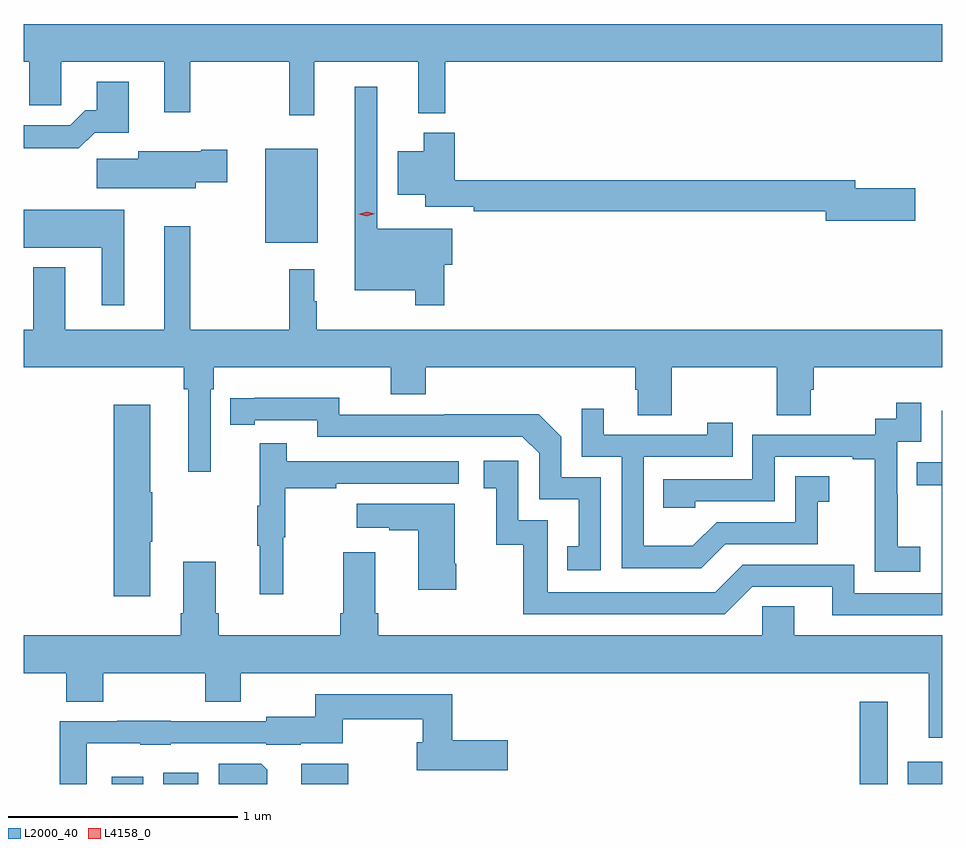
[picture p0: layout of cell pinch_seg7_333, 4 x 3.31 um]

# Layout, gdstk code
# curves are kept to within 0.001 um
import gdstk
lib = gdstk.Library(unit=1e-6, precision=1e-09)
def R(c, l, rs):  # rectangles x0, y0, x1, y1
    for r in rs: c.add(gdstk.rectangle(r[:2], r[2:], *l))
def P(c, l, *ps):  # polygons
    for p in ps: c.add(gdstk.Polygon(p, *l))
L2000_40 = (2000, 40)
L4158_0 = (4158, 0)

pinch_seg7_333 = lib.new_cell('pinch_seg7_333')
R(pinch_seg7_333, L2000_40, [(469.481,1069.397,469.618,1069.429), (469.706,1069.397,469.858,1069.447), (470.306,1069.397,470.512,1069.486), (472.74,1069.397,472.861,1069.756), (472.949,1069.397,473.098,1069.495), (470.15,1071.755,470.377,1072.165)])
P(pinch_seg7_333, L2000_40, [(470.363,1072.544),(470.816,1072.544),(470.816,1072.319),(470.933,1072.319),(470.933,1072.544),(473.098,1072.544),(473.098,1072.708),(469.098,1072.708),(469.098,1072.544),(469.121,1072.544),(469.121,1072.354),(469.26,1072.354),(469.26,1072.544),(469.709,1072.544),(469.709,1072.323),(469.823,1072.323),(469.823,1072.544),(470.253,1072.544),(470.253,1072.311),(470.363,1072.311)],
  [(469.406,1072.235),(469.555,1072.235),(469.555,1072.456),(469.415,1072.456),(469.415,1072.333),(469.366,1072.333),(469.299,1072.266),(469.098,1072.266),(469.098,1072.166),(469.337,1072.166)],
  [(470.93,1071.659),(470.965,1071.659),(470.965,1071.817),(470.637,1071.817),(470.637,1072.435),(470.54,1072.435),(470.54,1071.548),(470.802,1071.548),(470.802,1071.483),(470.93,1071.483)],
  [(472.981,1071.992),(472.72,1071.992),(472.72,1072.028),(470.975,1072.028),(470.975,1072.234),(470.84,1072.234),(470.84,1072.153),(470.726,1072.153),(470.726,1071.965),(470.846,1071.965),(470.846,1071.912),(471.058,1071.912),(471.058,1071.892),(472.592,1071.892),(472.592,1071.85),(472.981,1071.85)],
  [(469.846,1072.019),(469.984,1072.019),(469.984,1072.161),(469.871,1072.161),(469.871,1072.153),(469.595,1072.153),(469.595,1072.121),(469.416,1072.121),(469.416,1071.992),(469.846,1071.992)],
  [(469.534,1071.898),(469.098,1071.898),(469.098,1071.734),(469.436,1071.734),(469.436,1071.483),(469.534,1071.483)],
  [(469.911,1071.116),(469.925,1071.116),(469.925,1071.212),(470.696,1071.212),(470.696,1071.095),(470.849,1071.095),(470.849,1071.212),(471.761,1071.212),(471.761,1071.114),(471.773,1071.114),(471.773,1071.004),(471.921,1071.004),(471.921,1071.212),(472.378,1071.212),(472.378,1071.004),(472.525,1071.004),(472.525,1071.114),(472.538,1071.114),(472.538,1071.212),(473.098,1071.212),(473.098,1071.376),(470.374,1071.376),(470.374,1071.5),(470.362,1071.5),(470.362,1071.64),(470.253,1071.64),(470.253,1071.376),(469.823,1071.376),(469.823,1071.826),(469.709,1071.826),(469.709,1071.376),(469.279,1071.376),(469.279,1071.649),(469.139,1071.649),(469.139,1071.376),(469.098,1071.376),(469.098,1071.212),(469.795,1071.212),(469.795,1071.116),(469.814,1071.116),(469.814,1070.757),(469.911,1070.757)],
  [(471.612,1070.733),(471.438,1070.733),(471.438,1070.91),(471.34,1071.008),(470.932,1071.008),(470.932,1071.006),(470.472,1071.006),(470.472,1071.079),(469.996,1071.078),(469.996,1070.962),(470.104,1070.962),(470.104,1070.982),(470.376,1070.982),(470.376,1070.91),(471.27,1070.91),(471.342,1070.838),(471.342,1070.637),(471.515,1070.637),(471.515,1070.433),(471.466,1070.433),(471.466,1070.328),(471.612,1070.328)],
  [(473.002,1070.431),(472.904,1070.431),(472.904,1070.66),(472.902,1070.66),(472.902,1070.889),(473.007,1070.889),(473.007,1071.058),(472.899,1071.058),(472.899,1070.988),(472.806,1070.988),(472.806,1070.919),(472.272,1070.919),(472.272,1070.724),(471.883,1070.724),(471.883,1070.601),(472.023,1070.601),(472.023,1070.628),(472.368,1070.628),(472.368,1070.823),(472.709,1070.823),(472.709,1070.811),(472.805,1070.811),(472.805,1070.527),(472.804,1070.527),(472.804,1070.321),(473.002,1070.321)],
  [(469.648,1070.452),(469.656,1070.452),(469.656,1070.669),(469.648,1070.669),(469.648,1071.049),(469.49,1071.049),(469.49,1070.214),(469.648,1070.214)],
  [(472.153,1070.442),(472.557,1070.442),(472.557,1070.627),(472.606,1070.627),(472.606,1070.737),(472.458,1070.737),(472.458,1070.538),(472.116,1070.538),(472.012,1070.434),(471.798,1070.434),(471.798,1070.823),(472.187,1070.823),(472.187,1070.971),(472.076,1070.971),(472.076,1070.919),(471.625,1070.919),(471.625,1071.031),(471.528,1071.031),(471.528,1070.823),(471.702,1070.823),(471.702,1070.337),(472.048,1070.337)],
  [(473.098,1071.024),(473.097,1070.799),(472.987,1070.799),(472.987,1070.698),(473.097,1070.698),(473.097,1070.229),(472.716,1070.229),(472.716,1070.352),(472.23,1070.352),(472.11,1070.232),(471.381,1070.232),(471.381,1070.547),(471.252,1070.547),(471.252,1070.806),(471.102,1070.806),(471.102,1070.685),(471.155,1070.685),(471.155,1070.439),(471.273,1070.439),(471.273,1070.136),(472.152,1070.136),(472.272,1070.256),(472.619,1070.256),(472.619,1070.133),(473.098,1070.133)],
  [(470.228,1070.472),(470.236,1070.472),(470.236,1070.686),(470.459,1070.686),(470.459,1070.706),(470.992,1070.706),(470.992,1070.802),(470.243,1070.802),(470.243,1070.881),(470.126,1070.881),(470.126,1070.609),(470.115,1070.609),(470.115,1070.435),(470.126,1070.435),(470.126,1070.223),(470.228,1070.223)],
  [(470.982,1070.356),(470.974,1070.356),(470.974,1070.617),(470.547,1070.617),(470.547,1070.513),(470.69,1070.513),(470.69,1070.503),(470.816,1070.503),(470.816,1070.244),(470.982,1070.244)],
  [(473.098,1070.044),(472.453,1070.044),(472.453,1070.171),(472.314,1070.171),(472.314,1070.044),(470.642,1070.044),(470.642,1070.14),(470.629,1070.14),(470.629,1070.407),(470.489,1070.407),(470.489,1070.14),(470.477,1070.14),(470.477,1070.044),(469.946,1070.044),(469.946,1070.14),(469.933,1070.14),(469.933,1070.365),(469.793,1070.365),(469.793,1070.14),(469.781,1070.14),(469.781,1070.044),(469.098,1070.044),(469.098,1069.88),(469.283,1069.88),(469.283,1069.756),(469.443,1069.756),(469.443,1069.88),(469.888,1069.88),(469.888,1069.756),(470.043,1069.756),(470.043,1069.88),(473.039,1069.88),(473.039,1069.599),(473.098,1069.599)],
  [(469.371,1069.574),(469.605,1069.574),(469.605,1069.568),(469.737,1069.568),(469.737,1069.575),(470.154,1069.575),(470.154,1069.568),(470.304,1069.568),(470.304,1069.574),(470.488,1069.574),(470.488,1069.68),(470.835,1069.68),(470.835,1069.579),(470.809,1069.579),(470.809,1069.457),(471.205,1069.457),(471.205,1069.587),(470.963,1069.587),(470.963,1069.788),(470.367,1069.788),(470.367,1069.69),(470.154,1069.69),(470.154,1069.671),(469.737,1069.671),(469.737,1069.673),(469.505,1069.673),(469.505,1069.671),(469.255,1069.671),(469.255,1069.397),(469.371,1069.397)],
  [(470.158,1069.46),(470.132,1069.486),(469.946,1069.486),(469.946,1069.397),(470.158,1069.397)])
P(pinch_seg7_333, L4158_0, [(470.592,1071.87),(470.556,1071.879),(470.555,1071.879),(470.556,1071.879),(470.591,1071.89),(470.627,1071.882),(470.627,1071.881),(470.627,1071.881)])

lib.write_gds('pinch_seg7_333.gds')
